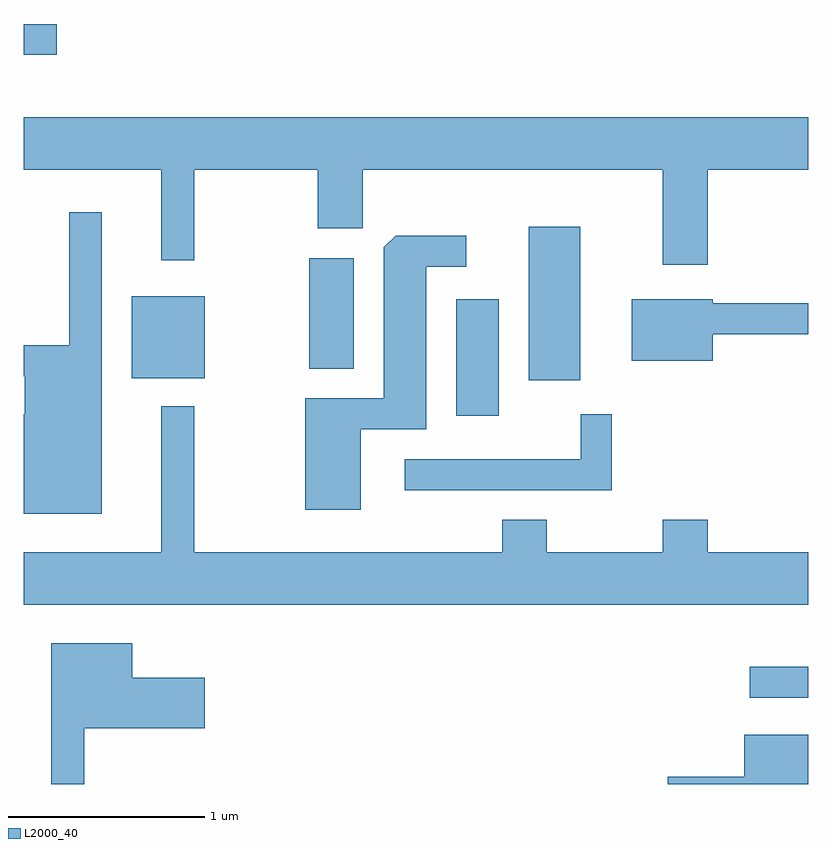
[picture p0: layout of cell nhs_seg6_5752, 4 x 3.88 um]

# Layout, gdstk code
import gdstk
lib = gdstk.Library(unit=1e-6, precision=1e-09)
def R(c, l, rs):  # rectangles x0, y0, x1, y1
    for r in rs: c.add(gdstk.rectangle(r[:2], r[2:], *l))
def P(c, l, *ps):  # polygons
    for p in ps: c.add(gdstk.Polygon(p, *l))
L2000_40 = (2000, 40)

nhs_seg6_5752 = lib.new_cell('nhs_seg6_5752')
R(nhs_seg6_5752, L2000_40, [(363.313,1620.601,363.611,1620.759), (361.816,1622.041,362.034,1622.634), (362.186,1622.221,362.449,1623.004), (360.161,1622.231,360.534,1622.649), (361.066,1622.281,361.294,1622.844), (359.611,1623.881,359.778,1624.039)])
P(nhs_seg6_5752, L2000_40, [(363.099,1623.296),(363.611,1623.296),(363.611,1623.564),(359.611,1623.564),(359.611,1623.296),(360.311,1623.296),(360.311,1622.833),(360.479,1622.833),(360.479,1623.296),(361.111,1623.296),(361.111,1622.996),(361.339,1622.996),(361.339,1623.296),(362.871,1623.296),(362.871,1622.811),(363.099,1622.811)],
  [(360.009,1623.078),(359.841,1623.078),(359.841,1622.399),(359.611,1622.399),(359.611,1622.241),(359.616,1622.241),(359.616,1622.049),(359.611,1622.049),(359.611,1621.541),(360.009,1621.541)],
  [(361.329,1621.971),(361.664,1621.971),(361.664,1622.801),(361.868,1622.801),(361.868,1622.959),(361.507,1622.959),(361.446,1622.899),(361.446,1622.129),(361.046,1622.129),(361.046,1621.561),(361.329,1621.561)],
  [(363.124,1622.456),(363.611,1622.456),(363.611,1622.614),(363.124,1622.614),(363.124,1622.634),(362.711,1622.634),(362.711,1622.321),(363.124,1622.321)],
  [(363.611,1621.344),(363.099,1621.344),(363.099,1621.509),(362.871,1621.509),(362.871,1621.344),(362.279,1621.344),(362.279,1621.509),(362.051,1621.509),(362.051,1621.344),(360.479,1621.344),(360.479,1622.088),(360.311,1622.088),(360.311,1621.344),(359.611,1621.344),(359.611,1621.076),(363.611,1621.076)],
  [(362.609,1622.048),(362.451,1622.048),(362.451,1621.819),(361.553,1621.819),(361.553,1621.661),(362.609,1621.661)],
  [(359.919,1620.446),(360.534,1620.446),(360.534,1620.704),(360.164,1620.704),(360.164,1620.879),(359.751,1620.879),(359.751,1620.162),(359.919,1620.162)],
  [(363.611,1620.414),(363.286,1620.414),(363.286,1620.199),(362.896,1620.199),(362.896,1620.162),(363.611,1620.162)])

lib.write_gds('nhs_seg6_5752.gds')
